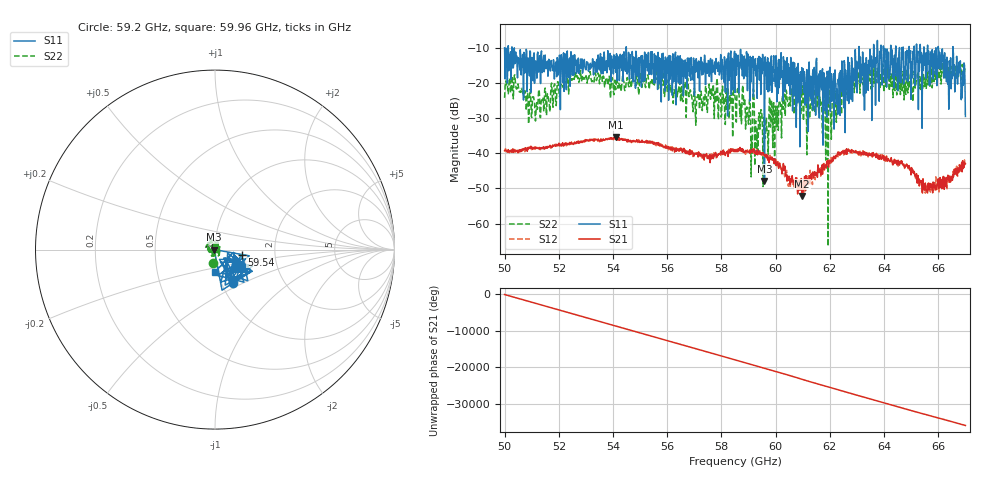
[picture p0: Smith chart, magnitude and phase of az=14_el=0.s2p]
!Created with skrf (http://scikit-rf.org).
# GHz S RI R 50.0
!freq ReS11 ImS11 ReS21 ImS21 ReS12 ImS12 ReS22 ImS22
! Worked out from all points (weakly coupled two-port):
!   1001 points, 50 GHz to 67 GHz, reference 50 ohm
!   highest |S21| = -35.40 dB at 54.11 GHz (marker M1); lowest = -52.1 dB at 60.98 GHz (marker M2)
!   lowest |S11| = -47.9 dB at 59.59 GHz (marker M3), VSWR 1.01, Z = 49.6 + j0.00869 ohm
!   |S11| at or under -10 dB: 50.27 GHz to 54.49 GHz (4.215 GHz wide, 8.05 % of centre); 54.49 GHz to 63.07 GHz (8.583 GHz wide, 14.6 % of centre); 63.07 GHz to 63.61 GHz (539.9 MHz wide, 0.852 % of centre) (the widest 3 of 20)
!   |S22| runs from -66.4 to -14.2 dB; largest |S21 - S12| = 0.0026
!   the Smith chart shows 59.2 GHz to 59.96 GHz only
!   S11 on the Smith chart (normalised r, x): 59.2 GHz: 1.14, -0.44; 59.54 GHz: 1.34, -0.08; 59.96 GHz: 0.96, -0.25
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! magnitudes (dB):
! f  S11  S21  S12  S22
! 50 GHz  -10.1  -39.3  -39.4  -24.3
! 50.42 GHz  -14.0  -39.5  -39.3  -21.6
! 51.07 GHz  -12.2  -38.4  -38.6  -24.0
! 52.84 GHz  -14.1  -36.9  -36.9  -19.6
! 54.11 GHz  -13.7  -35.4  -35.7  -20.6
! 55.68 GHz  -13.4  -37.0  -37.3  -22.0
! 58.5 GHz  -22.8  -39.0  -39.5  -24.0
! 59.2 GHz  -13.5  -39.3  -40.1  -22.7
! 59.54 GHz  -16.5  -39.8  -40.8  -49.5
! 59.59 GHz  -47.9  -40.6  -40.3  -30.3
! 59.96 GHz  -17.9  -41.6  -42.2  -43.4
! 60.34 GHz  -13.8  -43.7  -46.7  -24.9
! 60.98 GHz  -19.5  -52.1  -49.0  -20.8
! 61.34 GHz  -26.3  -46.1  -46.3  -25.2
! 62 GHz  -15.6  -42.0  -42.9  -24.8
! 62.04 GHz  -18.7  -42.2  -42.8  -30.7
! 62.55 GHz  -14.6  -40.2  -39.9  -19.4
! 63.01 GHz  -22.9  -39.7  -39.5  -20.0
! 64.18 GHz  -18.9  -42.0  -42.5  -18.6
! 66.08 GHz  -15.5  -49.7  -49.6  -15.8
! 66.75 GHz  -17.9  -45.6  -45.3  -18.2
! 67 GHz  -29.6  -43.0  -43.2  -15.6
